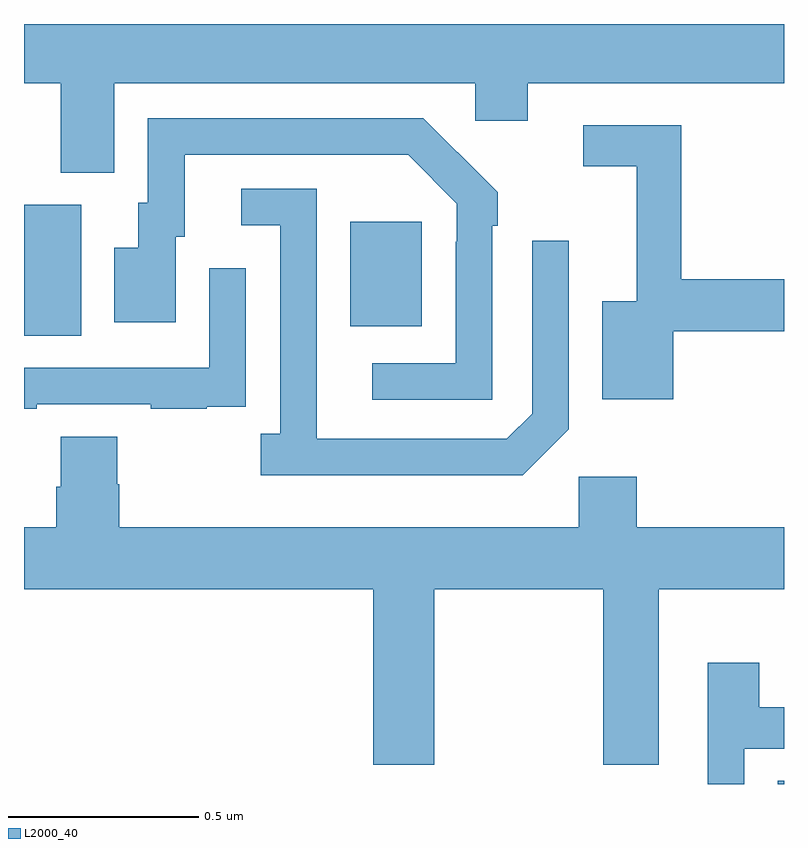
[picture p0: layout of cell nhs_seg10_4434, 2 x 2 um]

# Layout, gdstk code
import gdstk
lib = gdstk.Library(unit=1e-6, precision=1e-09)
def R(c, l, rs):  # rectangles x0, y0, x1, y1
    for r in rs: c.add(gdstk.rectangle(r[:2], r[2:], *l))
def P(c, l, *ps):  # polygons
    for p in ps: c.add(gdstk.Polygon(p, *l))
L2000_40 = (2000, 40)

nhs_seg10_4434 = lib.new_cell('nhs_seg10_4434')
R(nhs_seg10_4434, L2000_40, [(167.984,1270.5,168,1270.508), (166,1271.68,166.15,1272.024), (166.859,1271.705,167.047,1271.98)])
P(nhs_seg10_4434, L2000_40, [(166.237,1272.344),(167.187,1272.344),(167.187,1272.246),(167.326,1272.246),(167.326,1272.344),(168,1272.344),(168,1272.5),(166,1272.5),(166,1272.344),(166.097,1272.344),(166.097,1272.109),(166.237,1272.109)],
  [(167.232,1271.969),(167.247,1271.969),(167.247,1272.057),(167.142,1272.162),(167.141,1272.161),(167.05,1272.252),(166.326,1272.252),(166.326,1272.03),(166.301,1272.03),(166.301,1271.911),(166.238,1271.911),(166.238,1271.715),(166.399,1271.715),(166.399,1271.94),(166.423,1271.94),(166.423,1272.156),(167.011,1272.156),(167.139,1272.027),(167.139,1271.927),(167.136,1271.927),(167.136,1271.607),(166.917,1271.607),(166.917,1271.511),(167.232,1271.511)],
  [(167.709,1271.692),(168,1271.692),(168,1271.828),(167.729,1271.828),(167.729,1272.234),(167.472,1272.234),(167.472,1272.126),(167.612,1272.126),(167.612,1271.77),(167.522,1271.77),(167.522,1271.513),(167.709,1271.513)],
  [(167.433,1271.433),(167.433,1271.929),(167.337,1271.929),(167.337,1271.475),(167.271,1271.409),(166.771,1271.409),(166.771,1271.609),(166.77,1271.609),(166.77,1272.066),(166.572,1272.066),(166.572,1271.97),(166.674,1271.97),(166.674,1271.422),(166.623,1271.422),(166.623,1271.312),(167.312,1271.312)],
  [(166.033,1271.499),(166.333,1271.499),(166.333,1271.487),(166.481,1271.487),(166.481,1271.493),(166.583,1271.493),(166.583,1271.602),(166.584,1271.602),(166.584,1271.857),(166.488,1271.857),(166.488,1271.595),(166,1271.595),(166,1271.487),(166.033,1271.487)],
  [(167.079,1271.012),(167.524,1271.012),(167.524,1270.551),(167.671,1270.551),(167.671,1271.012),(168,1271.012),(168,1271.176),(167.612,1271.176),(167.612,1271.308),(167.46,1271.308),(167.46,1271.176),(166.25,1271.176),(166.25,1271.289),(166.245,1271.289),(166.245,1271.414),(166.097,1271.414),(166.097,1271.282),(166.085,1271.282),(166.085,1271.176),(166,1271.176),(166,1271.012),(166.919,1271.012),(166.919,1270.551),(167.079,1270.551)],
  [(167.895,1270.593),(168,1270.593),(168,1270.702),(167.935,1270.702),(167.935,1270.819),(167.799,1270.819),(167.799,1270.5),(167.895,1270.5)])

lib.write_gds('nhs_seg10_4434.gds')
